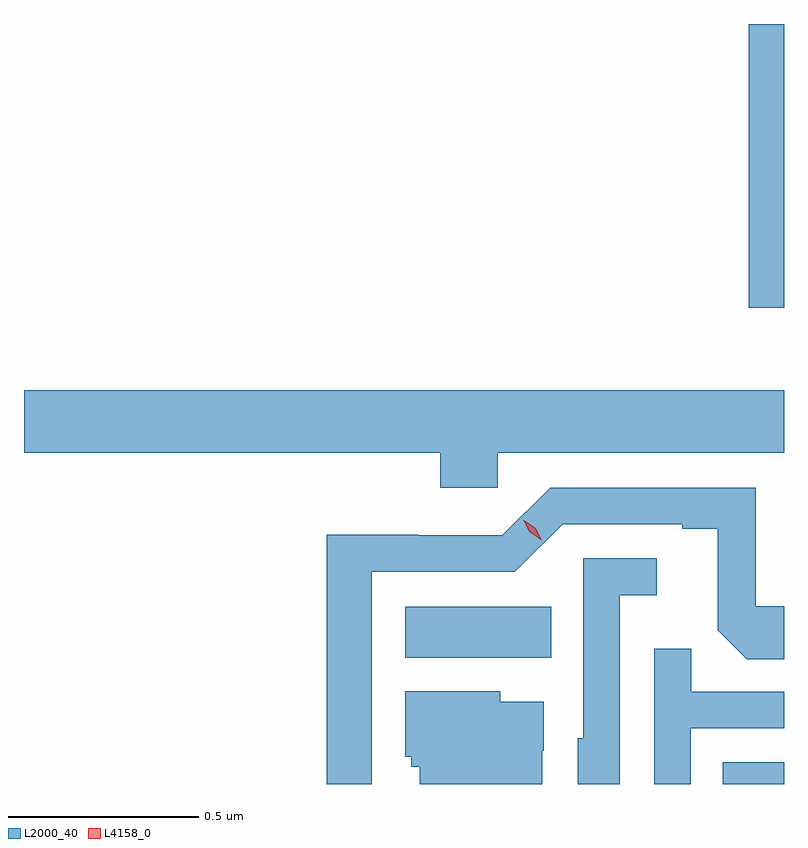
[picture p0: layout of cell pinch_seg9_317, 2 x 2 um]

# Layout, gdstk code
import gdstk
lib = gdstk.Library(unit=1e-6, precision=1e-09)
def R(c, l, rs):  # rectangles x0, y0, x1, y1
    for r in rs: c.add(gdstk.rectangle(r[:2], r[2:], *l))
def P(c, l, *ps):  # polygons
    for p in ps: c.add(gdstk.Polygon(p, *l))
L2000_40 = (2000, 40)
L4158_0 = (4158, 0)

pinch_seg9_317 = lib.new_cell('pinch_seg9_317')
R(pinch_seg9_317, L2000_40, [(610.624,1188.888,610.785,1188.945), (609.788,1189.22,610.172,1189.354), (610.692,1190.141,610.785,1190.888)])
P(pinch_seg9_317, L2000_40, [(610.032,1189.76),(610.785,1189.76),(610.785,1189.924),(608.785,1189.924),(608.785,1189.76),(609.881,1189.76),(609.881,1189.667),(610.032,1189.667)],
  [(609.7,1189.446),(610.077,1189.446),(610.203,1189.572),(610.517,1189.572),(610.517,1189.56),(610.611,1189.56),(610.611,1189.292),(610.687,1189.216),(610.785,1189.216),(610.785,1189.356),(610.71,1189.356),(610.71,1189.668),(610.17,1189.668),(610.044,1189.542),(609.822,1189.542),(609.822,1189.544),(609.582,1189.544),(609.582,1188.888),(609.7,1188.888)],
  [(610.353,1189.385),(610.45,1189.385),(610.45,1189.482),(610.257,1189.482),(610.257,1189.008),(610.242,1189.008),(610.242,1188.888),(610.353,1188.888)],
  [(610.539,1189.035),(610.785,1189.035),(610.785,1189.131),(610.541,1189.131),(610.541,1189.244),(610.443,1189.244),(610.443,1188.888),(610.539,1188.888)],
  [(610.149,1188.976),(610.153,1188.976),(610.153,1189.105),(610.038,1189.105),(610.038,1189.132),(609.788,1189.132),(609.788,1188.96),(609.804,1188.96),(609.804,1188.933),(609.827,1188.933),(609.827,1188.888),(610.149,1188.888)])
P(pinch_seg9_317, L4158_0, [(610.148,1189.53),(610.116,1189.55),(610.099,1189.583),(610.099,1189.583),(610.099,1189.583),(610.131,1189.563),(610.148,1189.53),(610.148,1189.53)])

lib.write_gds('pinch_seg9_317.gds')
